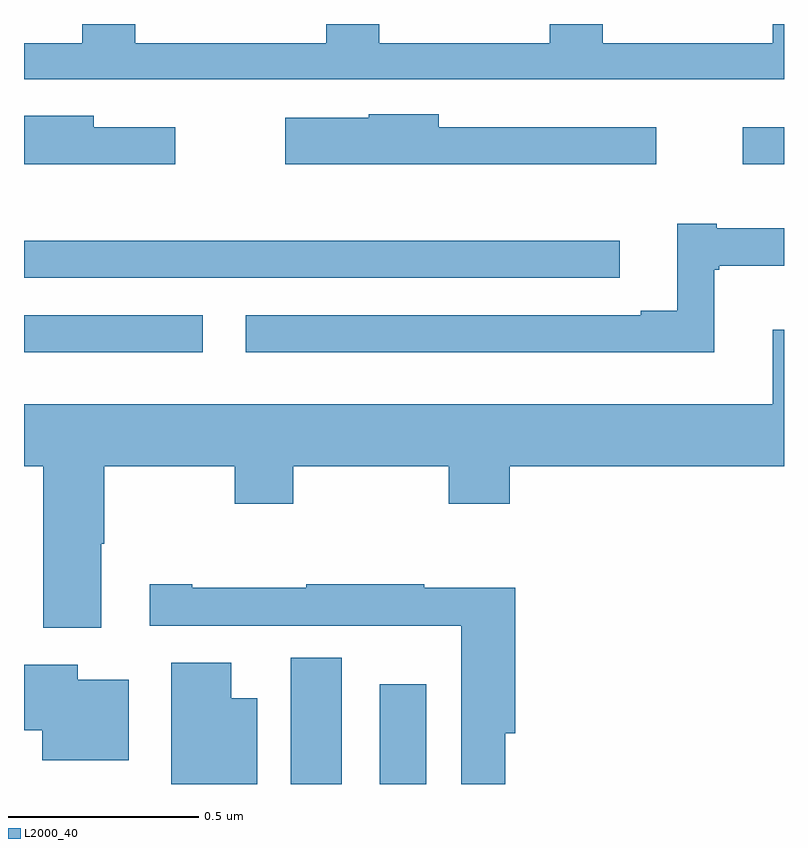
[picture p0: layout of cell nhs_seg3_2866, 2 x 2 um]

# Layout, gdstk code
import gdstk
lib = gdstk.Library(unit=1e-6, precision=1e-09)
def R(c, l, rs):  # rectangles x0, y0, x1, y1
    for r in rs: c.add(gdstk.rectangle(r[:2], r[2:], *l))
def P(c, l, *ps):  # polygons
    for p in ps: c.add(gdstk.Polygon(p, *l))
L2000_40 = (2000, 40)

nhs_seg3_2866 = lib.new_cell('nhs_seg3_2866')
R(nhs_seg3_2866, L2000_40, [(146.702,713.4,146.836,713.732), (146.936,713.4,147.058,713.662), (146,714.536,146.47,714.633), (146,714.732,147.568,714.83), (147.891,715.031,148,715.128)])
P(nhs_seg3_2866, L2000_40, [(148,715.4),(147.971,715.4),(147.971,715.35),(147.523,715.35),(147.523,715.4),(147.383,715.4),(147.383,715.35),(146.935,715.35),(146.935,715.4),(146.795,715.4),(146.795,715.35),(146.293,715.35),(146.293,715.4),(146.153,715.4),(146.153,715.35),(146,715.35),(146,715.254),(148,715.254)],
  [(147.664,715.128),(147.091,715.128),(147.091,715.162),(146.907,715.162),(146.907,715.153),(146.688,715.153),(146.688,715.031),(147.664,715.031)],
  [(146.398,715.128),(146.184,715.128),(146.184,715.159),(146,715.159),(146,715.031),(146.398,715.031)],
  [(147.817,714.753),(147.829,714.753),(147.829,714.764),(148,714.764),(148,714.862),(147.823,714.862),(147.823,714.874),(147.719,714.874),(147.719,714.646),(147.623,714.646),(147.623,714.633),(146.583,714.633),(146.583,714.536),(147.817,714.536)],
  [(146.203,714.032),(146.211,714.032),(146.211,714.236),(146.554,714.236),(146.554,714.137),(146.709,714.137),(146.709,714.236),(147.118,714.236),(147.118,714.137),(147.278,714.137),(147.278,714.236),(148,714.236),(148,714.595),(147.971,714.595),(147.971,714.4),(146,714.4),(146,714.236),(146.051,714.236),(146.051,713.811),(146.203,713.811)],
  [(147.266,713.534),(147.293,713.534),(147.293,713.916),(147.053,713.916),(147.053,713.926),(146.743,713.926),(146.743,713.916),(146.443,713.916),(146.443,713.926),(146.331,713.926),(146.331,713.817),(146.94,713.817),(146.94,713.816),(147.15,713.816),(147.15,713.4),(147.266,713.4)],
  [(146.614,713.626),(146.545,713.626),(146.545,713.719),(146.387,713.719),(146.387,713.4),(146.614,713.4)],
  [(146.275,713.674),(146.142,713.674),(146.142,713.714),(146,713.714),(146,713.542),(146.048,713.542),(146.048,713.462),(146.275,713.462)])

lib.write_gds('nhs_seg3_2866.gds')
